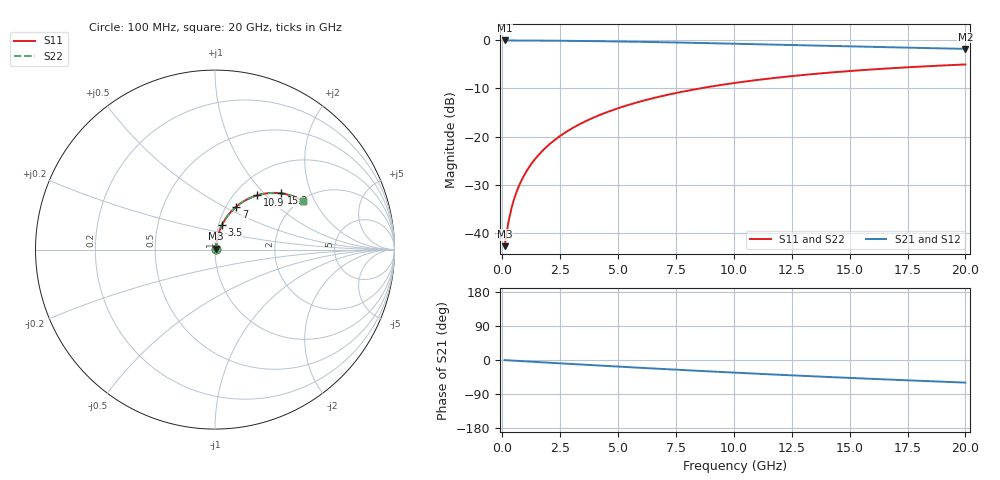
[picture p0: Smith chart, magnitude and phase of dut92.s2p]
! Touchstone file exported from HFSS 2026.1.0
!  File:  C:/ffzhzh/LocalFiles/Ansys_Project_Files/temp_train_BSMRDL_92_1782883241_43084.aedt
!  Generated:  01:22:05 PM Jul  1, 2026
!  Design:  BSMRDL
!  Project:  temp_train_BSMRDL_92_1782883241_43084
! Variables:
!  h_bsmrdl = 3.43um
!  h_ox = 20um
!  h_rdl = 5um
!  h_sub = 80um
!  h_tmrdl = 5um
!  h_tsv = 80um
!  h_via = 3um
!  l_bsmrdl = 900.6um
!  l_sub = 1300.6um
!  l_tmrdl = 200um
!  m_sub = 200um
!  pitch = 47.58um
!  r_tsv = 6um
!  s_tmrdl = 10um
!  w_bsmrdl = 15.99um
!  w_sub = 500um
!  w_tmrdl = 12um
!  x_tsv_center1 = 206um
!  x_tsv_center2 = 1122.59um
!  x_tsv_center3 = 1334.59um
!  x_tsv_center4 = 2251.18um
!  x_tsv_center5 = 2463.18um
!  x_tsv_center6 = 3379.77um
# GHz S MA R 50.000000
! Terminal data exported
! Port[1] = BSM_RDL1_1_T1
! Port[2] = BSM_RDL1_1_T2
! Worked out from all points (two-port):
!   200 points, 100 MHz to 20 GHz, reference 50 ohm
!   highest |S21| = -0.05 dB at 100 MHz (marker M1); lowest = -1.8 dB at 20 GHz (marker M2)
!   |S21| within 3 dB of the highest: start of sweep to end of sweep
!   lowest |S11| = -42.7 dB at 100 MHz (marker M3), VSWR 1.01, Z = 50.6 + j0.437 ohm
!   |S11| at or under -10 dB: start of sweep to 8.537 GHz
!   |S22| runs from -42.7 to -5.0 dB; largest |S21 - S12| = 3.8e-15
!   S11 on the Smith chart (normalised r, x): 100 MHz: 1.01, +0.01; 3.5 GHz: 1.04, +0.29; 7 GHz: 1.11, +0.57; 10.9 GHz: 1.26, +0.90; 15.2 GHz: 1.54, +1.26; 20 GHz: 2.06, +1.63
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0.1  0.007307 36.2  0.9941 -0.4  0.9941 -0.4  0.007307 36.2
! Gamma 0 0 0 0
! Port Impedance 50 0 50 0
0.2  0.01053 54.5  0.994 -0.7  0.994 -0.7  0.01053 54.5
0.3  0.01427 63.2  0.9937 -1.1  0.9937 -1.1  0.01427 63.2
0.4  0.01816 68.0  0.9935 -1.5  0.9935 -1.5  0.01816 68.0
0.5  0.02209 71.0  0.9933 -1.8  0.9933 -1.8  0.02209 71.0
0.6  0.02604 73.0  0.993 -2.2  0.993 -2.2  0.02604 73.0
0.8  0.03396 75.5  0.9926 -2.9  0.9926 -2.9  0.03396 75.5
1.1  0.04591 77.2  0.9919 -3.9  0.9919 -3.9  0.04591 77.2
1.6  0.06588 77.9  0.9905 -5.7  0.9905 -5.7  0.06588 77.9
2.1  0.08581 77.5  0.9887 -7.4  0.9887 -7.4  0.08581 77.5
2.7  0.1095 76.3  0.986 -9.5  0.986 -9.5  0.1095 76.3
3.5  0.1407 74.2  0.9816 -12.3  0.9816 -12.3  0.1407 74.2
5  0.197 69.8  0.9708 -17.4  0.9708 -17.4  0.197 69.8
6.8  0.2603 64.2  0.9545 -23.3  0.9545 -23.3  0.2603 64.2
7  0.267 63.6  0.9525 -24.0  0.9525 -24.0  0.267 63.6
8.5  0.3151 59.1  0.9368 -28.7  0.9368 -28.7  0.3151 59.1
10.1  0.3621 54.4  0.9189 -33.6  0.9189 -33.6  0.3621 54.4
10.9  0.3839 52.1  0.9098 -35.9  0.9098 -35.9  0.3839 52.1
13.4  0.4451 45.2  0.881 -43.0  0.881 -43.0  0.4451 45.2
15.2  0.4828 40.5  0.8609 -47.8  0.8609 -47.8  0.4828 40.5
16.7  0.5105 36.7  0.8449 -51.7  0.8449 -51.7  0.5105 36.7
20  0.5603 28.9  0.8133 -59.7  0.8133 -59.7  0.5603 28.9
